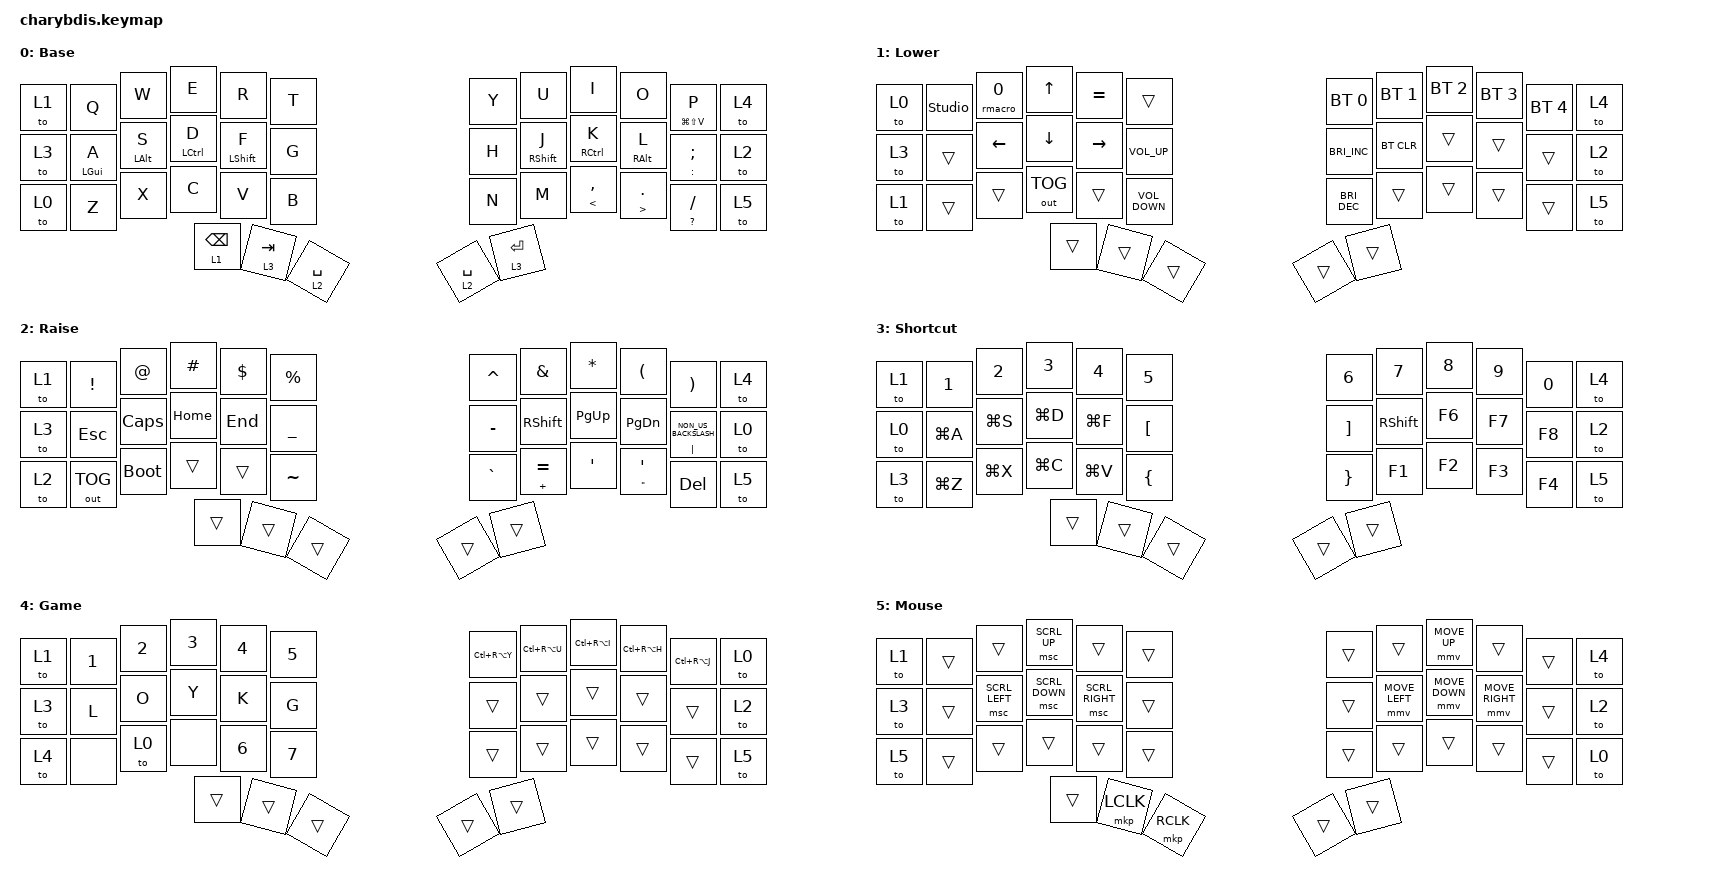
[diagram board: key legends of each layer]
#include <behaviors.dtsi>
#include <behaviors/runtime_macro.dtsi>
#include <dt-bindings/zmk/mouse.h>
#include <dt-bindings/zmk/bt.h>
#include <dt-bindings/zmk/keys.h>
#include <dt-bindings/zmk/outputs.h>

&lt {
    tapping-term-ms = <240>;
    flavor = "balanced";
    quick-tap-ms = <150>;
};

&mt {
    global-quick-tap;
    flavor = "tap-preferred";
    tapping-term-ms = <200>;
};

&sk {
    release-after-ms = <2000>;
    quick-release;
};

/ {
    runtime_combo_defaults {
        compatible = "cormoran,runtime-combo-defaults";

        combo_esc {
            slot = <0>;
            display-name = "Esc";
            timeout-ms = <50>;
            key-positions = <0 1>;
            bindings = <&kp ESC>;
        };

        combo_left_bkt {
            slot = <1>;
            display-name = "LBracket";
            bindings = <&kp LEFT_BRACKET>;
            key-positions = <2 3>;
            timeout-ms = <50>;
        };

        combo_right_bkt {
            slot = <2>;
            display-name = "RBracket";
            bindings = <&kp RIGHT_BRACKET>;
            key-positions = <8 9>;
            timeout-ms = <50>;
        };

        combo_left_par {
            slot = <3>;
            display-name = "LParen";
            bindings = <&kp LEFT_PARENTHESIS>;
            key-positions = <15 16>;
            timeout-ms = <50>;
        };

        combo_right_par {
            slot = <4>;
            display-name = "RParen";
            bindings = <&kp RIGHT_PARENTHESIS>;
            key-positions = <19 20>;
            timeout-ms = <50>;
        };

        combo_left_brace {
            slot = <5>;
            display-name = "LBrace";
            bindings = <&kp LEFT_BRACE>;
            key-positions = <27 28>;
            timeout-ms = <50>;
        };

        combo_right_brace {
            slot = <6>;
            display-name = "RBrace";
            bindings = <&kp RIGHT_BRACE>;
            key-positions = <31 32>;
            timeout-ms = <50>;
        };

        combo_bac {
            slot = <7>;
            display-name = "Backslash";
            bindings = <&kp BACKSLASH>;
            key-positions = <5 6>;
            timeout-ms = <50>;
        };

        combo_pipe {
            slot = <8>;
            display-name = "Pipe";
            bindings = <&kp PIPE>;
            key-positions = <17 18>;
            timeout-ms = <50>;
        };
    };

    behaviors {
        hm: homerow_mods {
            compatible = "zmk,behavior-hold-tap";
            label = "HOMEROW_MODS";
            bindings = <&kp>, <&kp>;

            #binding-cells = <2>;
            tapping-term-ms = <200>;
            quick-tap-ms = <180>;
            flavor = "tap-preferred";
        };

        ltq: ltq {
            compatible = "zmk,behavior-hold-tap";
            label = "LTQ";
            bindings = <&mo>, <&kp>;

            #binding-cells = <2>;
            tapping-term-ms = <200>;
            quick-tap-ms = <180>;
        };

        as: auto_shift {
            compatible = "zmk,behavior-hold-tap";
            label = "AUTO_SHIFT";
            bindings = <&kp>, <&kp>;

            #binding-cells = <2>;
            tapping-term-ms = <135>;
            quick-tap-ms = <0>;
        };
    };

    keymap {
        compatible = "zmk,keymap";

        Base {
            display-name = "Base";
            bindings = <
&to 1  &kp Q           &kp W           &kp E               &kp R             &kp T           &kp Y         &kp U              &kp I                &kp O                    &hm LG(LS(V)) P      &to 4
&to 3  &hm LEFT_GUI A  &hm LEFT_ALT S  &hm LEFT_CONTROL D  &hm LEFT_SHIFT F  &kp G           &kp H         &hm RIGHT_SHIFT J  &hm RIGHT_CONTROL K  &hm RIGHT_ALT L          &as COLON SEMICOLON  &to 2
&to 0  &kp Z           &kp X           &kp C               &kp V             &kp B           &kp N         &kp M              &as LESS_THAN COMMA  &as GREATER_THAN PERIOD  &as QUESTION SLASH   &to 5
                                       &ltq 1 BACKSPACE    &ltq 3 TAB        &ltq 2 SPACE    &ltq 2 SPACE  &ltq 3 ENTER
            >;
        };

        Lower {
            display-name = "Lower";
            bindings = <
&to 0  &studio_unlock  &rmacro 0    &kp UP        &kp EQUAL  &trans               &bt BT_SEL 0          &bt BT_SEL 1  &bt BT_SEL 2  &bt BT_SEL 3  &bt BT_SEL 4  &to 4
&to 3  &trans  &kp LEFT  &kp DOWN      &kp RIGHT  &kp C_VOLUME_UP      &kp C_BRIGHTNESS_INC  &bt BT_CLR    &trans        &trans        &trans        &to 2
&to 1  &trans  &trans    &out OUT_TOG  &trans     &kp C_VOLUME_DOWN    &kp C_BRI_DEC         &trans        &trans        &trans        &trans        &to 5
                         &trans        &trans     &trans               &trans                &trans
            >;
        };

        Raise {
            display-name = "Raise";
            bindings = <
&to 1  &kp EXCL      &kp AT        &kp HASH  &kp DLLR  &kp PRCNT         &kp CARET  &kp AMPS         &kp ASTERISK  &kp LPAR                        &kp RPAR                   &to 4
&to 3  &kp ESCAPE    &kp CAPSLOCK  &kp HOME  &kp END   &kp UNDERSCORE    &kp MINUS  &kp RIGHT_SHIFT  &kp PAGE_UP   &kp PAGE_DOWN                   &as PIPE NON_US_BACKSLASH  &to 0
&to 2  &out OUT_TOG  &bootloader   &trans    &trans    &kp TILDE         &kp GRAVE  &as PLUS EQUAL   &kp SQT       &as DOUBLE_QUOTES SINGLE_QUOTE  &kp DELETE                 &to 5
                                   &trans    &trans    &trans            &trans     &trans
            >;
        };

        Shortcut {
            display-name = "Shortcut";
            bindings = <
&to 1  &kp NUMBER_1  &kp NUMBER_2  &kp NUMBER_3  &kp NUMBER_4  &kp NUMBER_5        &kp NUMBER_6       &kp NUMBER_7     &kp NUMBER_8  &kp NUMBER_9  &kp NUMBER_0  &to 4
&to 0  &kp LG(A)     &kp LG(S)     &kp LG(D)     &kp LG(F)     &kp LEFT_BRACKET    &kp RIGHT_BRACKET  &kp RIGHT_SHIFT  &kp F6        &kp F7        &kp F8        &to 2
&to 3  &kp LG(Z)     &kp LG(X)     &kp LG(C)     &kp LG(V)     &kp LEFT_BRACE      &kp RIGHT_BRACE    &kp F1           &kp F2        &kp F3        &kp F4        &to 5
                                   &trans        &trans        &trans              &trans             &trans
            >;
        };

        Game {
            display-name = "Game";
            bindings = <
&to 1  &kp NUMBER_1  &kp NUMBER_2  &kp NUMBER_3  &kp NUMBER_4  &kp NUMBER_5    &kp LC(RA(Y))  &kp LC(RA(U))  &kp LC(RA(I))  &kp LC(RA(H))  &kp LC(RA(J))  &to 0
&to 3  &kp L         &kp O         &kp Y         &kp K         &kp G           &trans         &trans         &trans         &trans         &trans         &to 2
&to 4  &none         &to 0         &none         &kp NUMBER_6  &kp NUMBER_7    &trans         &trans         &trans         &trans         &trans         &to 5
                                   &trans        &trans        &trans          &trans         &trans
            >;
        };

        Mouse {
            display-name = "Mouse";
            bindings = <
&to 1  &trans  &trans          &msc SCRL_UP    &trans           &trans       &trans  &trans          &mmv MOVE_UP    &trans           &trans  &to 4
&to 3  &trans  &msc SCRL_LEFT  &msc SCRL_DOWN  &msc SCRL_RIGHT  &trans       &trans  &mmv MOVE_LEFT  &mmv MOVE_DOWN  &mmv MOVE_RIGHT  &trans  &to 2
&to 5  &trans  &trans          &trans          &trans           &trans       &trans  &trans          &trans          &trans           &trans  &to 0
                               &trans          &mkp LCLK           &mkp RCLK    &trans  &trans
            >;
        };
    };
};
